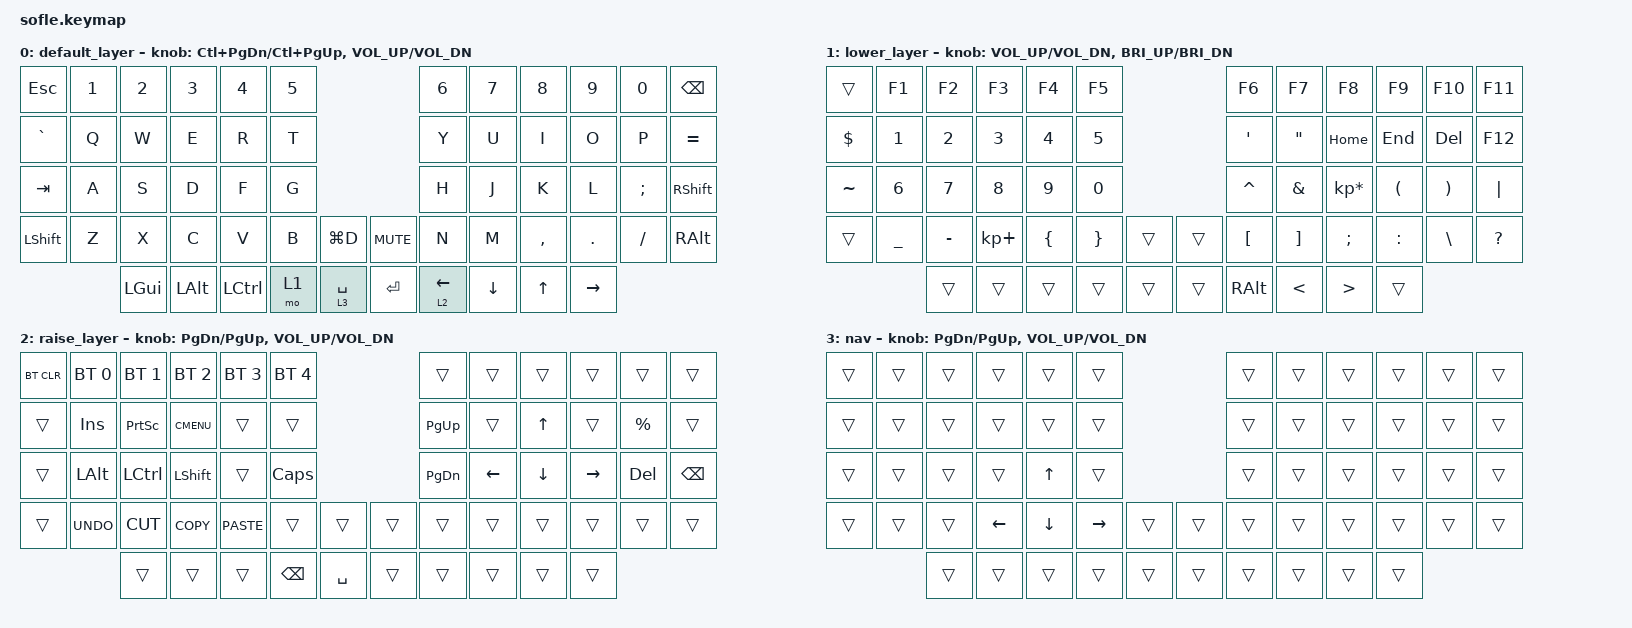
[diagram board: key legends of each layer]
/*
 * Copyright (c) 2020 The ZMK Contributors
 *
 * SPDX-License-Identifier: MIT
 */

#include <behaviors.dtsi>
#include <dt-bindings/zmk/keys.h>
#include <dt-bindings/zmk/bt.h>
#include <dt-bindings/zmk/rgb.h>
#include <dt-bindings/zmk/ext_power.h>

#define nav 3

&left_encoder { resolution = <2>; };
&right_encoder { resolution = <2>; };

&lt {
    tapping-term-ms = <200>;
};

/ {
    keymap {
        compatible = "zmk,keymap";

        default_layer {
// ------------------------------------------------------------------------------------------------------------
// |  ESC  |  1  |  2  |  3   |  4   |  5   |                    |  6   |  7    |  8    |  9   |   0   | BKSPC |
// |   `   |  Q  |  W  |  E   |  R   |  T   |                    |  Y   |  U    |  I    |  O   |   P   |   =   |
// |  TAB  |  A  |  S  |  D   |  F   |  G   |                    |  H   |  J    |  K    |  L   |   ;   | SHIFT |
// | SHIFT |  Z  |  X  |  C   |  V   |  B   |minimize|  |  MUTE  |  N   |  M    |  ,    |  .   |   /   |  ALT  |
//               | GUI | ALT  | CTRL | LOWER|  SPACE |  | ENTER  |  <- / RAISE |   v   |   ^   |  ->  |
            bindings = <
&kp ESC   &kp N1 &kp N2   &kp N3   &kp N4    &kp N5                           &kp N6      &kp N7    &kp N8    &kp N9   &kp N0   &kp BSPC
&kp GRAVE &kp Q  &kp W    &kp E    &kp R     &kp T                            &kp Y       &kp U     &kp I     &kp O    &kp P    &kp EQUAL
&kp TAB   &kp A  &kp S    &kp D    &kp F     &kp G                            &kp H       &kp J     &kp K     &kp L    &kp SEMI &kp RSHFT
&kp LSHFT &kp Z  &kp X    &kp C    &kp V     &kp B  &kp LG(D)      &kp C_MUTE &kp N       &kp M     &kp COMMA &kp DOT  &kp FSLH &kp RALT
                 &kp LGUI &kp LALT &kp LCTRL &mo 1  &lt 3 SPACE    &kp RET &lt 2 LEFT  &kp DOWN  &kp UP    &kp RIGHT
            >;

            sensor-bindings = <&inc_dec_kp LC(PG_DN) LC(PG_UP) &inc_dec_kp C_VOL_UP C_VOL_DN>;
            
        };

          lower_layer {
// TODO: Some binds are waiting for shifted keycode support.
// ------------------------------------------------------------------------------------------------------------
// |       |  F1 |  F2 |  F3  |  F4  |  F5  |                   |  F6  |  F7   |  F8   |  F9  |  F10  |  F11  |
// |   $   |   1 |   2 |   3  |   4  |   5  |                   |  '   |   "   |  HOME |  END |  DEL  |  F12  |
// |   ~   |  6  |  7  |  8   |  9   |  0   |                   |  ^   |  &    |  *    |  (   |   )   |   |   |
// |       |  _  |  -  |  +   |  {   |  }   |        |  |       |  [   |  ]    |  ;    |  :   |   \   |   ?   |
//               |     |      |      |      |        |  |       | RALT |   <   |   >   |      |
            bindings = <
&trans    &kp F1    &kp F2    &kp F3      &kp F4    &kp F5                    &kp F6    &kp F7   &kp F8          &kp F9    &kp F10   &kp F11
&kp DLLR &kp N1    &kp N2    &kp N3      &kp N4    &kp N5                     &kp SQT   &kp DQT  &kp HOME        &kp END   &kp DEL   &kp F12
&kp TILDE &kp N6    &kp N7    &kp N8      &kp N9    &kp N0                    &kp CARET &kp AMPS &kp KP_MULTIPLY &kp LPAR  &kp RPAR  &kp PIPE
&trans    &kp UNDER &kp MINUS &kp KP_PLUS &kp LBRC  &kp RBRC  &trans   &trans &kp LBKT  &kp RBKT &kp SEMI        &kp COLON &kp BSLH  &kp QMARK
                    &trans    &trans      &trans    &trans    &trans   &trans &kp RALT  &kp LT   &kp GT          &trans
            >;

            sensor-bindings = <&inc_dec_cp C_VOL_UP C_VOL_DN &inc_dec_cp C_BRI_UP C_BRI_DN>;
        };

        raise_layer {
// ------------------------------------------------------------------------------------------------------------
// |BTCLR| BT1  | BT2  |  BT3  |  BT4  |  BT5 |                |      |      |       |      |       |       |
// |     | INS  | PSCR | GUI   |       |      |                | PGUP |      |   ^   |      |   %   |       |
// |     | ALT  | CTRL | SHIFT |       | CAPS |                | PGDN |   <- |   v   |  ->  |  DEL  | BKSPC |
// |     | UNDO | CUT  | COPY  | PASTE |      |      |  |      |      |      |       |      |       |       |
//              |      |       |       |BKSPC |SPACE |  |      |      |      |       |      |
            bindings = <
&bt BT_CLR &bt BT_SEL 0 &bt BT_SEL 1 &bt BT_SEL 2 &bt BT_SEL 3 &bt BT_SEL 4                  &trans    &trans    &trans   &trans    &trans     &trans
&trans     &kp INS      &kp PSCRN    &kp K_CMENU  &trans       &trans                        &kp PG_UP &trans    &kp UP   &trans    &kp PRCNT  &trans
&trans     &kp LALT     &kp LCTRL    &kp LSHFT    &trans       &kp CLCK                      &kp PG_DN &kp LEFT  &kp DOWN &kp RIGHT &kp DEL    &kp BSPC
&trans     &kp K_UNDO   &kp K_CUT    &kp K_COPY   &kp K_PASTE  &trans    &trans      &trans  &trans    &trans    &trans   &trans    &trans     &trans
                        &trans       &trans       &trans       &kp BSPC &kp SPACE   &trans  &trans    &trans    &trans   &trans
            >;

            sensor-bindings = <&inc_dec_kp PG_DN PG_UP &inc_dec_kp C_VOL_UP C_VOL_DN>;
        };

                  nav {
// ------------------------------------------------------------------------------------------------------------
// |       |     |     |      |      |      |                   |      |       |       |      |       |       |
// |       |     |     |      |      |      |                   |      |       |       |      |       |       |
// |       |     |     |      |  ^   |      |                   |      |       |       |      |       |       |
// |       |     |     |  <-  |  v   |  ->  |        |  |       |      |       |       |      |       |       |
//               |     |      |      |      |        |  |       |      |       |       |      |
            bindings = <
&trans    &trans    &trans    &trans      &trans    &trans                      &trans   &trans   &trans   &trans   &trans   &trans
&trans    &trans    &trans    &trans      &trans    &trans                      &trans   &trans   &trans   &trans   &trans   &trans
&trans    &trans    &trans    &trans      &kp UP    &trans                      &trans   &trans   &trans   &trans   &trans   &trans
&trans    &trans    &trans    &kp LEFT    &kp DOWN  &kp RIGHT &trans   &trans   &trans   &trans   &trans   &trans   &trans   &trans
                    &trans    &trans      &trans    &trans    &trans   &trans   &trans   &trans   &trans   &trans
            >;

            sensor-bindings = <&inc_dec_cp PG_DN PG_UP &inc_dec_cp C_VOL_UP C_VOL_DN>;
        };
    };
};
